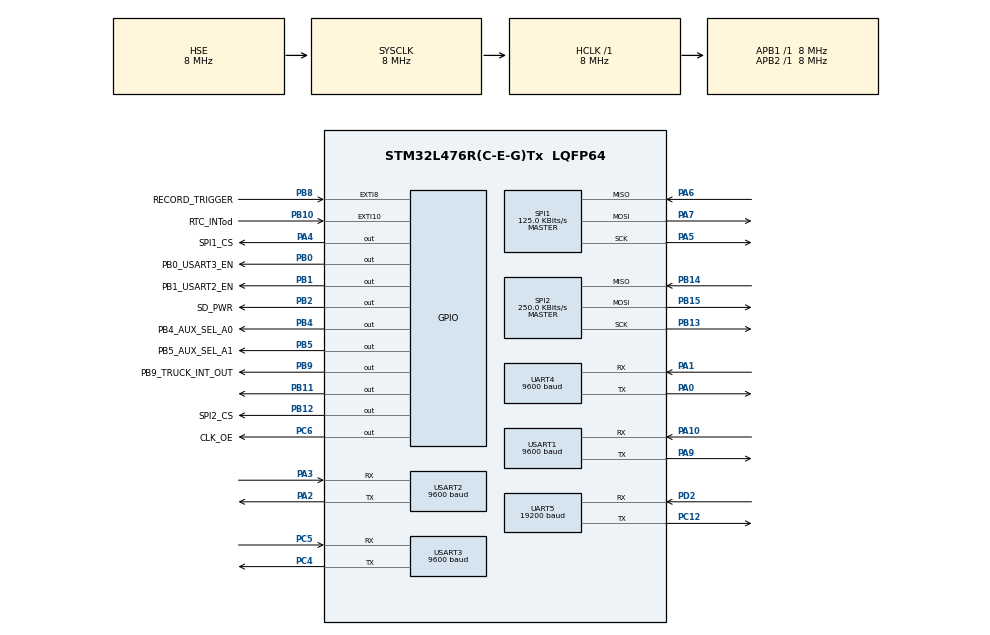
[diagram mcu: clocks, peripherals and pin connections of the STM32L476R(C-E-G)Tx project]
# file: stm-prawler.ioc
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Dma.Request0=UART5_RX
Dma.Request1=USART3_RX
Dma.Request2=USART3_TX
Dma.Request3=USART2_RX
Dma.Request4=USART2_TX
Dma.UART5_RX.0.Direction=DMA_PERIPH_TO_MEMORY
Dma.UART5_RX.0.Instance=DMA2_Channel2
Dma.UART5_RX.0.MemDataAlignment=DMA_MDATAALIGN_BYTE
Dma.UART5_RX.0.MemInc=DMA_MINC_ENABLE
Dma.UART5_RX.0.Mode=DMA_NORMAL
Dma.UART5_RX.0.PeriphDataAlignment=DMA_PDATAALIGN_BYTE
Dma.UART5_RX.0.PeriphInc=DMA_PINC_DISABLE
Dma.UART5_RX.0.Priority=DMA_PRIORITY_LOW
Dma.USART2_RX.3.Direction=DMA_PERIPH_TO_MEMORY
Dma.USART2_RX.3.Instance=DMA1_Channel6
Dma.USART2_RX.3.MemDataAlignment=DMA_MDATAALIGN_BYTE
Dma.USART2_RX.3.MemInc=DMA_MINC_ENABLE
Dma.USART2_RX.3.Mode=DMA_NORMAL
Dma.USART2_RX.3.PeriphDataAlignment=DMA_PDATAALIGN_BYTE
Dma.USART2_RX.3.PeriphInc=DMA_PINC_DISABLE
Dma.USART2_RX.3.Priority=DMA_PRIORITY_LOW
Dma.USART2_TX.4.Direction=DMA_MEMORY_TO_PERIPH
Dma.USART2_TX.4.Instance=DMA1_Channel7
Dma.USART2_TX.4.MemDataAlignment=DMA_MDATAALIGN_BYTE
Dma.USART2_TX.4.MemInc=DMA_MINC_ENABLE
Dma.USART2_TX.4.Mode=DMA_NORMAL
Dma.USART2_TX.4.PeriphDataAlignment=DMA_PDATAALIGN_BYTE
Dma.USART2_TX.4.PeriphInc=DMA_PINC_DISABLE
Dma.USART2_TX.4.Priority=DMA_PRIORITY_LOW
Dma.USART3_RX.1.Direction=DMA_PERIPH_TO_MEMORY
Dma.USART3_RX.1.Instance=DMA1_Channel3
Dma.USART3_RX.1.MemDataAlignment=DMA_MDATAALIGN_BYTE
Dma.USART3_RX.1.MemInc=DMA_MINC_ENABLE
Dma.USART3_RX.1.Mode=DMA_NORMAL
Dma.USART3_RX.1.PeriphDataAlignment=DMA_PDATAALIGN_BYTE
Dma.USART3_RX.1.PeriphInc=DMA_PINC_DISABLE
Dma.USART3_RX.1.Priority=DMA_PRIORITY_LOW
Dma.USART3_TX.2.Direction=DMA_MEMORY_TO_PERIPH
Dma.USART3_TX.2.Instance=DMA1_Channel2
Dma.USART3_TX.2.MemDataAlignment=DMA_MDATAALIGN_BYTE
Dma.USART3_TX.2.MemInc=DMA_MINC_ENABLE
Dma.USART3_TX.2.Mode=DMA_NORMAL
Dma.USART3_TX.2.PeriphDataAlignment=DMA_PDATAALIGN_BYTE
Dma.USART3_TX.2.PeriphInc=DMA_PINC_DISABLE
Dma.USART3_TX.2.Priority=DMA_PRIORITY_LOW
FATFS._USE_LFN=2
IWDG.Prescaler=IWDG_PRESCALER_256
IWDG.Reload=4095
IWDG.Window=4095
Mcu.Family=STM32L4
Mcu.Name=STM32L476R(C-E-G)Tx
Mcu.Package=LQFP64
NVIC.DMA1_Channel2_IRQn=true\:0\:0\:false\:false\:true\:false\:true\:true
NVIC.DMA1_Channel3_IRQn=true\:0\:0\:false\:false\:true\:false\:true\:true
NVIC.DMA1_Channel6_IRQn=true\:0\:0\:false\:false\:true\:false\:true\:true
NVIC.DMA1_Channel7_IRQn=true\:0\:0\:false\:false\:true\:false\:true\:true
NVIC.DMA2_Channel2_IRQn=true\:0\:0\:false\:false\:true\:false\:true\:true
NVIC.PriorityGroup=NVIC_PRIORITYGROUP_4
NVIC.SPI1_IRQn=true\:0\:0\:false\:false\:true\:true\:true\:true
NVIC.UART4_IRQn=true\:5\:0\:true\:false\:true\:true\:true\:true
NVIC.UART5_IRQn=true\:5\:0\:true\:false\:true\:true\:true\:true
NVIC.USART1_IRQn=true\:0\:0\:false\:false\:true\:true\:true\:true
NVIC.USART2_IRQn=true\:5\:0\:true\:false\:true\:true\:true\:true
NVIC.USART3_IRQn=true\:5\:0\:true\:false\:true\:true\:true\:true
PA0.Mode=Asynchronous
PA0.Signal=UART4_TX
PA1.Mode=Asynchronous
PA1.Signal=UART4_RX
PA10.Mode=Asynchronous
PA10.Signal=USART1_RX
PA13\ (JTMS-SWDIO).Mode=Serial_Wire
PA13\ (JTMS-SWDIO).Signal=SYS_JTMS-SWDIO
PA14\ (JTCK-SWCLK).Mode=Serial_Wire
PA14\ (JTCK-SWCLK).Signal=SYS_JTCK-SWCLK
PA2.Mode=Asynchronous
PA2.Signal=USART2_TX
PA3.Mode=Asynchronous
PA3.Signal=USART2_RX
PA4.GPIO_Label=SPI1_CS
PA4.PinState=GPIO_PIN_SET
PA4.Signal=GPIO_Output
PA5.Mode=Full_Duplex_Master
PA5.Signal=SPI1_SCK
PA6.Mode=Full_Duplex_Master
PA6.Signal=SPI1_MISO
PA7.Mode=Full_Duplex_Master
PA7.Signal=SPI1_MOSI
PA9.Mode=Asynchronous
PA9.Signal=USART1_TX
PB0.GPIO_Label=PB0_USART3_EN
PB0.Signal=GPIO_Output
PB1.GPIO_Label=PB1_USART2_EN
PB1.Signal=GPIO_Output
PB10.GPIO_Label=RTC_INTod
PB10.GPIO_ModeDefaultEXTI=GPIO_MODE_EVT_FALLING
PB10.GPIO_PuPd=GPIO_PULLUP
PB10.Signal=GPXTI10
PB11.Signal=GPIO_Output
PB12.GPIO_Label=SPI2_CS
PB12.Signal=GPIO_Output
PB13.GPIO_PuPd=GPIO_PULLUP
PB13.Mode=Full_Duplex_Master
PB13.Signal=SPI2_SCK
PB14.GPIO_PuPd=GPIO_PULLUP
PB14.Mode=Full_Duplex_Master
PB14.Signal=SPI2_MISO
PB15.GPIO_PuPd=GPIO_PULLUP
PB15.Mode=Full_Duplex_Master
PB15.Signal=SPI2_MOSI
PB2.GPIO_Label=SD_PWR
PB2.Signal=GPIO_Output
PB3\ (JTDO-TRACESWO).Signal=SYS_JTDO-SWO
PB4\ (NJTRST).GPIO_Label=PB4_AUX_SEL_A0
PB4\ (NJTRST).GPIO_PuPd=GPIO_NOPULL
PB4\ (NJTRST).PinState=GPIO_PIN_RESET
PB4\ (NJTRST).Signal=GPIO_Output
PB5.GPIO_Label=PB5_AUX_SEL_A1
PB5.GPIO_PuPd=GPIO_NOPULL
PB5.PinState=GPIO_PIN_RESET
PB5.Signal=GPIO_Output
PB8.GPIO_Label=RECORD_TRIGGER
PB8.GPIO_ModeDefaultEXTI=GPIO_MODE_EVT_RISING
PB8.Signal=GPXTI8
PB9.GPIO_Label=PB9_TRUCK_INT_OUT
PB9.Signal=GPIO_Output
PC12.Mode=Asynchronous
PC12.Signal=UART5_TX
PC14-OSC32_IN\ (PC14).Mode=LSE-External-Oscillator
PC14-OSC32_IN\ (PC14).Signal=RCC_OSC32_IN
PC15-OSC32_OUT\ (PC15).Mode=LSE-External-Oscillator
PC15-OSC32_OUT\ (PC15).Signal=RCC_OSC32_OUT
PC4.Mode=Asynchronous
PC4.Signal=USART3_TX
PC5.Mode=Asynchronous
PC5.Signal=USART3_RX
PC6.GPIO_Label=CLK_OE
PC6.Signal=GPIO_Output
PD2.Mode=Asynchronous
PD2.Signal=UART5_RX
PH0-OSC_IN\ (PH0).Mode=HSE-External-Oscillator
PH0-OSC_IN\ (PH0).Signal=RCC_OSC_IN
PH1-OSC_OUT\ (PH1).Mode=HSE-External-Oscillator
PH1-OSC_OUT\ (PH1).Signal=RCC_OSC_OUT
ProjectManager.HeapSize=0x200
ProjectManager.StackSize=0x400
ProjectManager.TargetToolchain=CMake
RCC.ADCFreq_Value=64000000
RCC.AHBFreq_Value=8000000
RCC.APB1Freq_Value=8000000
RCC.APB1TimFreq_Value=8000000
RCC.APB2Freq_Value=8000000
RCC.APB2TimFreq_Value=8000000
RCC.CortexFreq_Value=8000000
RCC.HCLKFreq_Value=8000000
RCC.HSE_VALUE=8000000
RCC.HSI_VALUE=16000000
RCC.MSI_VALUE=4000000
RCC.PLLN=20
RCC.PLLSAI1N=16
RCC.PLLSourceVirtual=RCC_PLLSOURCE_HSE
RCC.RTCClockSelection=RCC_RTCCLKSOURCE_LSE
RCC.SYSCLKFreq_VALUE=8000000
RCC.SYSCLKSource=RCC_SYSCLKSOURCE_HSE
RCC.USBFreq_Value=64000000
RCC.VCOOutputFreq_Value=160000000
SPI1.BaudRatePrescaler=SPI_BAUDRATEPRESCALER_64
SPI1.CalculateBaudRate=125.0 KBits/s
SPI1.DataSize=SPI_DATASIZE_8BIT
SPI1.Direction=SPI_DIRECTION_2LINES
SPI1.Mode=SPI_MODE_MASTER
SPI1.VirtualType=VM_MASTER
SPI2.BaudRatePrescaler=SPI_BAUDRATEPRESCALER_32
SPI2.CalculateBaudRate=250.0 KBits/s
SPI2.DataSize=SPI_DATASIZE_8BIT
SPI2.Direction=SPI_DIRECTION_2LINES
SPI2.Mode=SPI_MODE_MASTER
SPI2.VirtualType=VM_MASTER
TIM4.Period=499
TIM4.Prescaler=799
UART4.BaudRate=9600
UART5.BaudRate=19200
USART1.BaudRate=9600
USART1.VirtualMode-Asynchronous=VM_ASYNC
USART2.BaudRate=9600
USART2.VirtualMode-Asynchronous=VM_ASYNC
USART3.BaudRate=9600
USART3.VirtualMode-Asynchronous=VM_ASYNC
VP_FATFS_VS_Generic.Mode=User_defined
VP_IWDG_VS_IWDG.Mode=IWDG_Activate
VP_TIM4_VS_ClockSourceINT.Mode=Internal
board=custom

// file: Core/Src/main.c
/* USER CODE BEGIN Header */
/**
  ******************************************************************************
  * @file           : main.c
  * @brief          : Main program body
  ******************************************************************************
  * @attention
  *
  * Copyright (c) 2026 STMicroelectronics.
  * All rights reserved.
  *
  * This software is licensed under terms that can be found in the LICENSE file
  * in the root directory of this software component.
  * If no LICENSE file comes with this software, it is provided AS-IS.
  *
  ******************************************************************************
  */
/* USER CODE END Header */
#include "main.h"
#include "fatfs.h"

/* USER CODE BEGIN Includes */
#include "tasker.h"
#include "shell.h"
#include "filesystem.h"
#include "ab-rtcmc-rtc.h"
#include "ctd.h"
#include "optode.h"
#include "wetlab.h"
#include "recorder.h"
#include "config.h"
#include "wifi.h"
#include "lowpower.h"
/* USER CODE END Includes */

IWDG_HandleTypeDef hiwdg;

SPI_HandleTypeDef hspi1;
SPI_HandleTypeDef hspi2;

TIM_HandleTypeDef htim4;

UART_HandleTypeDef huart4;
UART_HandleTypeDef huart5;
UART_HandleTypeDef huart1;
UART_HandleTypeDef huart2;
UART_HandleTypeDef huart3;
DMA_HandleTypeDef hdma_uart5_rx;
DMA_HandleTypeDef hdma_usart2_rx;
DMA_HandleTypeDef hdma_usart2_tx;
DMA_HandleTypeDef hdma_usart3_rx;
DMA_HandleTypeDef hdma_usart3_tx;

void SystemClock_Config(void);
static void MX_GPIO_Init(void);
static void MX_DMA_Init(void);
static void MX_SPI1_Init(void);
static void MX_SPI2_Init(void);
static void MX_UART4_Init(void);
static void MX_UART5_Init(void);
static void MX_TIM4_Init(void);
static void MX_USART1_UART_Init(void);
static void MX_USART2_UART_Init(void);
static void MX_USART3_UART_Init(void);
static void MX_IWDG_Init(void);
/* USER CODE BEGIN PFP */
void transceiver_init(void);
/* USER CODE END PFP */

int main(void)
{

  /* MCU Configuration--------------------------------------------------------*/

  /* Reset of all peripherals, Initializes the Flash interface and the Systick. */
  HAL_Init();

  /* Configure the system clock */
  SystemClock_Config();

  /* Initialize all configured peripherals */
  MX_GPIO_Init();
  MX_DMA_Init();
  MX_SPI1_Init();
  MX_SPI2_Init();
  MX_UART4_Init();
  MX_FATFS_Init();
  MX_UART5_Init();
  MX_TIM4_Init();
  MX_USART1_UART_Init();
  MX_USART2_UART_Init();
  MX_USART3_UART_Init();
  MX_IWDG_Init();
  /* USER CODE BEGIN 2 */

  /* Turn off wifi to bring it to a known state */
  HAL_GPIO_WritePin(PB9_TRUCK_INT_OUT_GPIO_Port, PB9_TRUCK_INT_OUT_Pin, GPIO_PIN_SET);

  shell_printf("\r\nSystem Initialization...\r\n");

  /* Bring in the Config vars/macros */
  config_init();

  /* Initialize the RS232 transcievers */
  transceiver_init();

  /* Initialize the task scheduler */
  tasker_init();

  /* Initialize the filesystem */
  filesystem_init();

  /* Bring up SPI1, power up the SD card */
  lowpower_sd_spi_up();

  /* Mount the filesystem */
  FS_Result_t fs_status = filesystem_mount();
  if (fs_status == FS_OK || fs_status == FS_ALREADY_MOUNTED) {
      g_app.sd_status = PERIPH_READY;
      shell_print("SD CARD: OK\r\n"); /* SD Card/FS is good! */
      (void)filesystem_unmount(); /* Unmount the filesystem */
  } else {
      g_app.sd_status = PERIPH_ERROR;
      shell_printf("SD card mount failed\r\n"); /* SD Card/FS is not good, doesn't halt boot */
  }

  /* Power down the SD card and SPI1 */
  lowpower_sd_spi_down();

  /* Initialize the external RTC */
  RTC_Status_t rtc_init_status = RTC_Init();
  if (rtc_init_status == RTC_OK) {
      g_app.rtc_status = PERIPH_READY;
  } else {
      g_app.rtc_status = PERIPH_ERROR;
      shell_printf("RTC init failed (err %d)\r\n", rtc_init_status);
  }

  /* Initialize the CTD */
  ctd_init(&huart3);
  g_app.ctd_status = PERIPH_READY;

  /* Initialize the optode */
  optode_init(&huart2);
  g_app.optode_status = PERIPH_READY;

  /* Initialize the wetlab */
  wetlab_init(&huart5);
  g_app.wetlab_status = PERIPH_READY;

  /* Initialize the recorder */
  recorder_init();

  /* Initialize the low power manager */
  lowpower_init();

  /* Put the sensors to sleep */
  lowpower_idle_peripherals_down();

  /* Start the WiFi */
  lowpower_wifi_start();

  /* Initialize the shell */
  shell_init();

  /* Start the low power idle timer */
  lowpower_enter_idle();

  /* USER CODE END 2 */

  /* Infinite loop */
  while (1)
  {

    /* USER CODE BEGIN 3 */
    /* Main loop: feed the watchdog and poll the services */
    HAL_IWDG_Refresh(&hiwdg);
    shell_task();
    tasker_run();
    recorder_service();
    wifi_service();
    lowpower_service();
  }
  /* USER CODE END 3 */
}

void SystemClock_Config(void)
{
  RCC_OscInitTypeDef RCC_OscInitStruct = {0};
  RCC_ClkInitTypeDef RCC_ClkInitStruct = {0};

  /** Configure the main internal regulator output voltage
  */
  if (HAL_PWREx_ControlVoltageScaling(PWR_REGULATOR_VOLTAGE_SCALE1) != HAL_OK)
  {
    Error_Handler();
  }

  /** Initializes the RCC Oscillators according to the specified parameters
  * in the RCC_OscInitTypeDef structure.
  */
  RCC_OscInitStruct.OscillatorType = RCC_OSCILLATORTYPE_LSI|RCC_OSCILLATORTYPE_HSE;
  RCC_OscInitStruct.HSEState = RCC_HSE_ON;
  RCC_OscInitStruct.LSIState = RCC_LSI_ON;
  RCC_OscInitStruct.PLL.PLLState = RCC_PLL_NONE;
  if (HAL_RCC_OscConfig(&RCC_OscInitStruct) != HAL_OK)
  {
    Error_Handler();
  }

  /** Initializes the CPU, AHB and APB buses clocks
  */
  RCC_ClkInitStruct.ClockType = RCC_CLOCKTYPE_HCLK|RCC_CLOCKTYPE_SYSCLK
                              |RCC_CLOCKTYPE_PCLK1|RCC_CLOCKTYPE_PCLK2;
  RCC_ClkInitStruct.SYSCLKSource = RCC_SYSCLKSOURCE_HSE;
  RCC_ClkInitStruct.AHBCLKDivider = RCC_SYSCLK_DIV1;
  RCC_ClkInitStruct.APB1CLKDivider = RCC_HCLK_DIV1;
  RCC_ClkInitStruct.APB2CLKDivider = RCC_HCLK_DIV1;

  if (HAL_RCC_ClockConfig(&RCC_ClkInitStruct, FLASH_LATENCY_0) != HAL_OK)
  {
    Error_Handler();
  }
}

static void MX_IWDG_Init(void)
{

  hiwdg.Instance = IWDG;
  hiwdg.Init.Prescaler = IWDG_PRESCALER_256;
  hiwdg.Init.Window = 4095;
  /* Maximum timeout: (4095 + 1) * 256 / 32000 = 32.768 s nominal.
   * Actual timeout varies with the LSI clock frequency. */
  hiwdg.Init.Reload = 4095;
  if (HAL_IWDG_Init(&hiwdg) != HAL_OK)
  {
    Error_Handler();
  }

}

static void MX_SPI1_Init(void)
{

  /* SPI1 parameter configuration*/
  hspi1.Instance = SPI1;
  hspi1.Init.Mode = SPI_MODE_MASTER;
  hspi1.Init.Direction = SPI_DIRECTION_2LINES;
  hspi1.Init.DataSize = SPI_DATASIZE_8BIT;
  hspi1.Init.CLKPolarity = SPI_POLARITY_LOW;
  hspi1.Init.CLKPhase = SPI_PHASE_1EDGE;
  hspi1.Init.NSS = SPI_NSS_SOFT;
  hspi1.Init.BaudRatePrescaler = SPI_BAUDRATEPRESCALER_64;
  hspi1.Init.FirstBit = SPI_FIRSTBIT_MSB;
  hspi1.Init.TIMode = SPI_TIMODE_DISABLE;
  hspi1.Init.CRCCalculation = SPI_CRCCALCULATION_DISABLE;
  hspi1.Init.CRCPolynomial = 7;
  hspi1.Init.CRCLength = SPI_CRC_LENGTH_DATASIZE;
  hspi1.Init.NSSPMode = SPI_NSS_PULSE_ENABLE;
  if (HAL_SPI_Init(&hspi1) != HAL_OK)
  {
    Error_Handler();
  }

}

static void MX_SPI2_Init(void)
{

  /* SPI2 parameter configuration*/
  hspi2.Instance = SPI2;
  hspi2.Init.Mode = SPI_MODE_MASTER;
  hspi2.Init.Direction = SPI_DIRECTION_2LINES;
  hspi2.Init.DataSize = SPI_DATASIZE_8BIT;
  hspi2.Init.CLKPolarity = SPI_POLARITY_LOW;
  hspi2.Init.CLKPhase = SPI_PHASE_1EDGE;
  hspi2.Init.NSS = SPI_NSS_SOFT;
  hspi2.Init.BaudRatePrescaler = SPI_BAUDRATEPRESCALER_32;
  hspi2.Init.FirstBit = SPI_FIRSTBIT_MSB;
  hspi2.Init.TIMode = SPI_TIMODE_DISABLE;
  hspi2.Init.CRCCalculation = SPI_CRCCALCULATION_DISABLE;
  hspi2.Init.CRCPolynomial = 7;
  hspi2.Init.CRCLength = SPI_CRC_LENGTH_DATASIZE;
  hspi2.Init.NSSPMode = SPI_NSS_PULSE_ENABLE;
  if (HAL_SPI_Init(&hspi2) != HAL_OK)
  {
    Error_Handler();
  }

}

static void MX_TIM4_Init(void)
{

  TIM_ClockConfigTypeDef sClockSourceConfig = {0};
  TIM_MasterConfigTypeDef sMasterConfig = {0};

  htim4.Instance = TIM4;
  htim4.Init.Prescaler = 799;
  htim4.Init.CounterMode = TIM_COUNTERMODE_UP;
  htim4.Init.Period = 499;
  htim4.Init.ClockDivision = TIM_CLOCKDIVISION_DIV1;
  htim4.Init.AutoReloadPreload = TIM_AUTORELOAD_PRELOAD_DISABLE;
  if (HAL_TIM_Base_Init(&htim4) != HAL_OK)
  {
    Error_Handler();
  }
  sClockSourceConfig.ClockSource = TIM_CLOCKSOURCE_INTERNAL;
  if (HAL_TIM_ConfigClockSource(&htim4, &sClockSourceConfig) != HAL_OK)
  {
    Error_Handler();
  }
  sMasterConfig.MasterOutputTrigger = TIM_TRGO_RESET;
  sMasterConfig.MasterSlaveMode = TIM_MASTERSLAVEMODE_DISABLE;
  if (HAL_TIMEx_MasterConfigSynchronization(&htim4, &sMasterConfig) != HAL_OK)
  {
    Error_Handler();
  }

}

static void MX_UART4_Init(void)
{

  huart4.Instance = UART4;
  huart4.Init.BaudRate = 9600;
  huart4.Init.WordLength = UART_WORDLENGTH_8B;
  huart4.Init.StopBits = UART_STOPBITS_1;
  huart4.Init.Parity = UART_PARITY_NONE;
  huart4.Init.Mode = UART_MODE_TX_RX;
  huart4.Init.HwFlowCtl = UART_HWCONTROL_NONE;
  huart4.Init.OverSampling = UART_OVERSAMPLING_16;
  huart4.Init.OneBitSampling = UART_ONE_BIT_SAMPLE_DISABLE;
  huart4.AdvancedInit.AdvFeatureInit = UART_ADVFEATURE_NO_INIT;
  if (HAL_UART_Init(&huart4) != HAL_OK)
  {
    Error_Handler();
  }

}

static void MX_UART5_Init(void)
{

  huart5.Instance = UART5;
  huart5.Init.BaudRate = 19200;
  huart5.Init.WordLength = UART_WORDLENGTH_8B;
  huart5.Init.StopBits = UART_STOPBITS_1;
  huart5.Init.Parity = UART_PARITY_NONE;
  huart5.Init.Mode = UART_MODE_TX_RX;
  huart5.Init.HwFlowCtl = UART_HWCONTROL_NONE;
  huart5.Init.OverSampling = UART_OVERSAMPLING_16;
  huart5.Init.OneBitSampling = UART_ONE_BIT_SAMPLE_DISABLE;
  huart5.AdvancedInit.AdvFeatureInit = UART_ADVFEATURE_NO_INIT;
  if (HAL_UART_Init(&huart5) != HAL_OK)
  {
    Error_Handler();
  }

}

static void MX_USART1_UART_Init(void)
{

  huart1.Instance = USART1;
  huart1.Init.BaudRate = 9600;
  huart1.Init.WordLength = UART_WORDLENGTH_8B;
  huart1.Init.StopBits = UART_STOPBITS_1;
  huart1.Init.Parity = UART_PARITY_NONE;
  huart1.Init.Mode = UART_MODE_TX_RX;
  huart1.Init.HwFlowCtl = UART_HWCONTROL_NONE;
  huart1.Init.OverSampling = UART_OVERSAMPLING_16;
  huart1.Init.OneBitSampling = UART_ONE_BIT_SAMPLE_DISABLE;
  huart1.AdvancedInit.AdvFeatureInit = UART_ADVFEATURE_NO_INIT;
  if (HAL_UART_Init(&huart1) != HAL_OK)
  {
    Error_Handler();
  }

}

static void MX_USART2_UART_Init(void)
{

  huart2.Instance = USART2;
  huart2.Init.BaudRate = 9600;
  huart2.Init.WordLength = UART_WORDLENGTH_8B;
  huart2.Init.StopBits = UART_STOPBITS_1;
  huart2.Init.Parity = UART_PARITY_NONE;
  huart2.Init.Mode = UART_MODE_TX_RX;
  huart2.Init.HwFlowCtl = UART_HWCONTROL_NONE;
  huart2.Init.OverSampling = UART_OVERSAMPLING_16;
  huart2.Init.OneBitSampling = UART_ONE_BIT_SAMPLE_DISABLE;
  huart2.AdvancedInit.AdvFeatureInit = UART_ADVFEATURE_NO_INIT;
  if (HAL_UART_Init(&huart2) != HAL_OK)
  {
    Error_Handler();
  }

}

static void MX_USART3_UART_Init(void)
{

  huart3.Instance = USART3;
  huart3.Init.BaudRate = 9600;
  huart3.Init.WordLength = UART_WORDLENGTH_8B;
  huart3.Init.StopBits = UART_STOPBITS_1;
  huart3.Init.Parity = UART_PARITY_NONE;
  huart3.Init.Mode = UART_MODE_TX_RX;
  huart3.Init.HwFlowCtl = UART_HWCONTROL_NONE;
  huart3.Init.OverSampling = UART_OVERSAMPLING_16;
  huart3.Init.OneBitSampling = UART_ONE_BIT_SAMPLE_DISABLE;
  huart3.AdvancedInit.AdvFeatureInit = UART_ADVFEATURE_NO_INIT;
  if (HAL_UART_Init(&huart3) != HAL_OK)
  {
    Error_Handler();
  }

}

static void MX_DMA_Init(void)
{

  /* DMA controller clock enable */
  __HAL_RCC_DMA2_CLK_ENABLE();
  __HAL_RCC_DMA1_CLK_ENABLE();

  /* DMA interrupt init */
  /* DMA1_Channel2_IRQn interrupt configuration */
  HAL_NVIC_SetPriority(DMA1_Channel2_IRQn, 0, 0);
  HAL_NVIC_EnableIRQ(DMA1_Channel2_IRQn);
  /* DMA1_Channel3_IRQn interrupt configuration */
  HAL_NVIC_SetPriority(DMA1_Channel3_IRQn, 0, 0);
  HAL_NVIC_EnableIRQ(DMA1_Channel3_IRQn);
  /* DMA1_Channel6_IRQn interrupt configuration */
  HAL_NVIC_SetPriority(DMA1_Channel6_IRQn, 0, 0);
  HAL_NVIC_EnableIRQ(DMA1_Channel6_IRQn);
  /* DMA1_Channel7_IRQn interrupt configuration */
  HAL_NVIC_SetPriority(DMA1_Channel7_IRQn, 0, 0);
  HAL_NVIC_EnableIRQ(DMA1_Channel7_IRQn);
  /* DMA2_Channel2_IRQn interrupt configuration */
  HAL_NVIC_SetPriority(DMA2_Channel2_IRQn, 0, 0);
  HAL_NVIC_EnableIRQ(DMA2_Channel2_IRQn);

}

static void MX_GPIO_Init(void)
{
  GPIO_InitTypeDef GPIO_InitStruct = {0};

  /* GPIO Ports Clock Enable */
  __HAL_RCC_GPIOC_CLK_ENABLE();
  __HAL_RCC_GPIOH_CLK_ENABLE();
  __HAL_RCC_GPIOA_CLK_ENABLE();
  __HAL_RCC_GPIOB_CLK_ENABLE();
  __HAL_RCC_GPIOD_CLK_ENABLE();

  /*Configure GPIO pin Output Level */
  HAL_GPIO_WritePin(SPI1_CS_GPIO_Port, SPI1_CS_Pin, GPIO_PIN_SET);

  /*Configure GPIO pin Output Level */
  HAL_GPIO_WritePin(GPIOB, PB0_USART3_EN_Pin|PB1_USART2_EN_Pin|SD_PWR_Pin|GPIO_PIN_11
                          |SPI2_CS_Pin|PB4_AUX_SEL_A0_Pin|PB5_AUX_SEL_A1_Pin|PB9_TRUCK_INT_OUT_Pin, GPIO_PIN_RESET);

  /*Configure GPIO pin Output Level */
  HAL_GPIO_WritePin(CLK_OE_GPIO_Port, CLK_OE_Pin, GPIO_PIN_RESET);

  /*Configure GPIO pins : PC13 PC0 PC1 PC2
                           PC3 PC7 PC8 PC9
                           PC10 PC11 */
  GPIO_InitStruct.Pin = GPIO_PIN_13|GPIO_PIN_0|GPIO_PIN_1|GPIO_PIN_2
                          |GPIO_PIN_3|GPIO_PIN_7|GPIO_PIN_8|GPIO_PIN_9
                          |GPIO_PIN_10|GPIO_PIN_11;
  GPIO_InitStruct.Mode = GPIO_MODE_ANALOG;
  GPIO_InitStruct.Pull = GPIO_NOPULL;
  HAL_GPIO_Init(GPIOC, &GPIO_InitStruct);

  /*Configure GPIO pin : SPI1_CS_Pin */
  GPIO_InitStruct.Pin = SPI1_CS_Pin;
  GPIO_InitStruct.Mode = GPIO_MODE_OUTPUT_PP;
  GPIO_InitStruct.Pull = GPIO_NOPULL;
  GPIO_InitStruct.Speed = GPIO_SPEED_FREQ_LOW;
  HAL_GPIO_Init(SPI1_CS_GPIO_Port, &GPIO_InitStruct);

  /*Configure GPIO pins : PB0_USART3_EN_Pin PB1_USART2_EN_Pin SD_PWR_Pin PB11
                           SPI2_CS_Pin PB4_AUX_SEL_A0_Pin PB5_AUX_SEL_A1_Pin PB9_TRUCK_INT_OUT_Pin */
  GPIO_InitStruct.Pin = PB0_USART3_EN_Pin|PB1_USART2_EN_Pin|SD_PWR_Pin|GPIO_PIN_11
                          |SPI2_CS_Pin|PB4_AUX_SEL_A0_Pin|PB5_AUX_SEL_A1_Pin|PB9_TRUCK_INT_OUT_Pin;
  GPIO_InitStruct.Mode = GPIO_MODE_OUTPUT_PP;
  GPIO_InitStruct.Pull = GPIO_NOPULL;
  GPIO_InitStruct.Speed = GPIO_SPEED_FREQ_LOW;
  HAL_GPIO_Init(GPIOB, &GPIO_InitStruct);

  /*Configure GPIO pin : RTC_INTod_Pin */
  GPIO_InitStruct.Pin = RTC_INTod_Pin;
  GPIO_InitStruct.Mode = GPIO_MODE_EVT_FALLING;
  GPIO_InitStruct.Pull = GPIO_PULLUP;
  HAL_GPIO_Init(RTC_INTod_GPIO_Port, &GPIO_InitStruct);

  /*Configure GPIO pin : CLK_OE_Pin */
  GPIO_InitStruct.Pin = CLK_OE_Pin;
  GPIO_InitStruct.Mode = GPIO_MODE_OUTPUT_PP;
  GPIO_InitStruct.Pull = GPIO_NOPULL;
  GPIO_InitStruct.Speed = GPIO_SPEED_FREQ_LOW;
  HAL_GPIO_Init(CLK_OE_GPIO_Port, &GPIO_InitStruct);

  /*Configure GPIO pins : PA8 PA11 PA12 PA15 */
  GPIO_InitStruct.Pin = GPIO_PIN_8|GPIO_PIN_11|GPIO_PIN_12|GPIO_PIN_15;
  GPIO_InitStruct.Mode = GPIO_MODE_ANALOG;
  GPIO_InitStruct.Pull = GPIO_NOPULL;
  HAL_GPIO_Init(GPIOA, &GPIO_InitStruct);

  /*Configure GPIO pins : PB6 PB7 */
  GPIO_InitStruct.Pin = GPIO_PIN_6|GPIO_PIN_7;
  GPIO_InitStruct.Mode = GPIO_MODE_ANALOG;
  GPIO_InitStruct.Pull = GPIO_NOPULL;
  HAL_GPIO_Init(GPIOB, &GPIO_InitStruct);

  /*Configure GPIO pin : RECORD_TRIGGER_Pin */
  GPIO_InitStruct.Pin = RECORD_TRIGGER_Pin;
  GPIO_InitStruct.Mode = GPIO_MODE_EVT_RISING;
  GPIO_InitStruct.Pull = GPIO_NOPULL;
  HAL_GPIO_Init(RECORD_TRIGGER_GPIO_Port, &GPIO_InitStruct);

}

/* USER CODE BEGIN 4 */

/** @brief  Initialize GPIO pins enable RS232 Transceivers
  * @param  None
  * @retval None
  */
void transceiver_init(void) {
  /* Set PB1 GPIO high - ENABLE pin for USART2 RS232 transceiver */
  HAL_GPIO_WritePin(GPIOB, GPIO_PIN_1, GPIO_PIN_SET);

  /* Set PB0 GPIO high - ENABLE pin for the USART3 RS232 transceiver */
  HAL_GPIO_WritePin(GPIOB, GPIO_PIN_0, GPIO_PIN_SET);

  /* Set PB4 GPIO high and PB5 GPIO low to enable the UART5 RS232 transceiver */
  //HAL_GPIO_WritePin(GPIOB, GPIO_PIN_4, GPIO_PIN_SET);
  /* Keep PB4 and PB5 low to disable the UART5 RS232 transceiver */
  /* Wetlab toggles PB4 to take a sample */
  HAL_GPIO_WritePin(GPIOB, GPIO_PIN_4, GPIO_PIN_RESET);
  HAL_GPIO_WritePin(GPIOB, GPIO_PIN_5, GPIO_PIN_RESET);

  /* Set PB11 GPIO high to enable the TRUCK_COM Transceiver */
  HAL_GPIO_WritePin(GPIOB, GPIO_PIN_11, GPIO_PIN_SET);
}

/* USER CODE END 4 */

void Error_Handler(void)
{
  __disable_irq();
  while (1)
  {
  }
}
